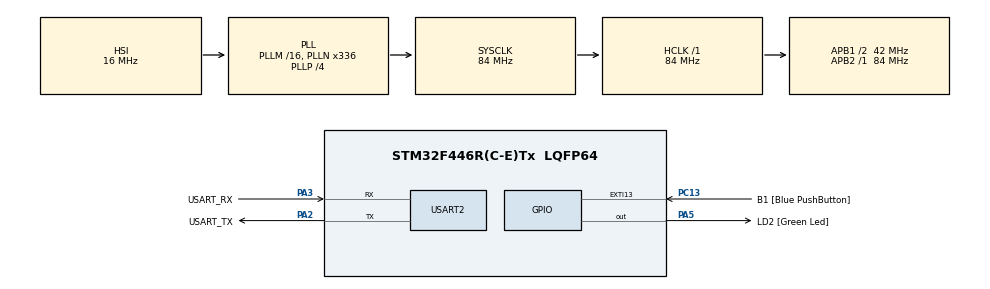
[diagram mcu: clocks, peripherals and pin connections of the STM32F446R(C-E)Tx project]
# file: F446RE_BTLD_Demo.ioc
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Mcu.Family=STM32F4
Mcu.Name=STM32F446R(C-E)Tx
Mcu.Package=LQFP64
NVIC.PriorityGroup=NVIC_PRIORITYGROUP_0
PA13.GPIO_Label=TMS
PA13.Mode=Serial_Wire
PA13.Signal=SYS_JTMS-SWDIO
PA14.GPIO_Label=TCK
PA14.Mode=Serial_Wire
PA14.Signal=SYS_JTCK-SWCLK
PA2.GPIO_Label=USART_TX
PA2.Mode=Asynchronous
PA2.Signal=USART2_TX
PA3.GPIO_Label=USART_RX
PA3.Mode=Asynchronous
PA3.Signal=USART2_RX
PA5.GPIO_Label=LD2 [Green Led]
PA5.Signal=GPIO_Output
PB3.GPIO_Label=SWO
PB3.Signal=SYS_JTDO-SWO
PC13.GPIO_Label=B1 [Blue PushButton]
PC13.GPIO_ModeDefaultEXTI=GPIO_MODE_IT_FALLING
PC13.Signal=GPXTI13
PC14-OSC32_IN.Mode=LSE-External-Oscillator
PC14-OSC32_IN.Signal=RCC_OSC32_IN
PC15-OSC32_OUT.Mode=LSE-External-Oscillator
PC15-OSC32_OUT.Signal=RCC_OSC32_OUT
PH0-OSC_IN.Mode=HSE-External-Oscillator
PH0-OSC_IN.Signal=RCC_OSC_IN
PH1-OSC_OUT.Mode=HSE-External-Oscillator
PH1-OSC_OUT.Signal=RCC_OSC_OUT
ProjectManager.HeapSize=0x200
ProjectManager.StackSize=0x400
ProjectManager.TargetToolchain=STM32CubeIDE
RCC.48MHZClocksFreq_Value=84000000
RCC.AHBFreq_Value=84000000
RCC.APB1CLKDivider=RCC_HCLK_DIV2
RCC.APB1Freq_Value=42000000
RCC.APB1TimFreq_Value=84000000
RCC.APB2Freq_Value=84000000
RCC.APB2TimFreq_Value=84000000
RCC.CortexFreq_Value=84000000
RCC.FLatency-AdvancedSettings=FLASH_LATENCY_2
RCC.HCLKFreq_Value=84000000
RCC.HSE_VALUE=8000000
RCC.HSI_VALUE=16000000
RCC.PLLN=336
RCC.PLLP=RCC_PLLP_DIV4
RCC.SYSCLKFreq_VALUE=84000000
RCC.SYSCLKSource=RCC_SYSCLKSOURCE_PLLCLK
RCC.USBFreq_Value=168000000
RCC.VCOOutputFreq_Value=336000000
USART2.VirtualMode=VM_ASYNC
VP_CRC_VS_CRC.Mode=CRC_Activate
board=NUCLEO-F446RE

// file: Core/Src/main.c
/* USER CODE BEGIN Header */
/**
 ******************************************************************************
 * @file           : main.c
 * @brief          : Main program body
 ******************************************************************************
 * @attention
 *
 * Copyright (c) 2023 STMicroelectronics.
 * All rights reserved.
 *
 * This software is licensed under terms that can be found in the LICENSE file
 * in the root directory of this software component.
 * If no LICENSE file comes with this software, it is provided AS-IS.
 *
 ******************************************************************************
 */
/* USER CODE END Header */
#include "main.h"

/* USER CODE BEGIN PD */
#define FASH_SECTOR2_BASE_ADDRESS 0x08008000UL
/* USER CODE END PD */

CRC_HandleTypeDef hcrc;

UART_HandleTypeDef huart2;

void SystemClock_Config(void);
static void MX_GPIO_Init(void);
static void MX_USART2_UART_Init(void);
static void MX_CRC_Init(void);

int main(void)
{
	/* USER CODE BEGIN 1 */
	char HelloBootloader[]="Hello From BL\r\n";
	/* USER CODE END 1 */

	/* MCU Configuration--------------------------------------------------------*/

	/* Reset of all peripherals, Initializes the Flash interface and the Systick. */
	HAL_Init();

	/* USER CODE BEGIN Init */
	void Bootloader_JumpToUserApp(void);
	void Bootloader_UartReadData(void);
	/* USER CODE END Init */

	/* Configure the system clock */
	SystemClock_Config();

	/* Initialize all configured peripherals */
	MX_GPIO_Init();
	MX_USART2_UART_Init();
	MX_CRC_Init();
	/* USER CODE BEGIN 2 */
	if(HAL_GPIO_ReadPin(B1_GPIO_Port, B1_Pin) == GPIO_PIN_RESET)
	{
		Bootloader_UartReadData();
	}
	else
	{
		Bootloader_JumpToUserApp();
	}

	/* USER CODE END 2 */

	/* Infinite loop */
	/* USER CODE BEGIN WHILE */
	while (1)
	{
		HAL_UART_Transmit( &huart, (uint8_t*)HelloBootloader, sizeof(HelloBootloader),HAL_MAX_DELAY );
		HAL_Delay(1000);
		/* USER CODE END WHILE */

	}
}

void SystemClock_Config(void)
{
	RCC_OscInitTypeDef RCC_OscInitStruct = {0};
	RCC_ClkInitTypeDef RCC_ClkInitStruct = {0};

	/** Configure the main internal regulator output voltage
	 */
	__HAL_RCC_PWR_CLK_ENABLE();
	__HAL_PWR_VOLTAGESCALING_CONFIG(PWR_REGULATOR_VOLTAGE_SCALE3);

	/** Initializes the RCC Oscillators according to the specified parameters
	 * in the RCC_OscInitTypeDef structure.
	 */
	RCC_OscInitStruct.OscillatorType = RCC_OSCILLATORTYPE_HSI;
	RCC_OscInitStruct.HSIState = RCC_HSI_ON;
	RCC_OscInitStruct.HSICalibrationValue = RCC_HSICALIBRATION_DEFAULT;
	RCC_OscInitStruct.PLL.PLLState = RCC_PLL_ON;
	RCC_OscInitStruct.PLL.PLLSource = RCC_PLLSOURCE_HSI;
	RCC_OscInitStruct.PLL.PLLM = 16;
	RCC_OscInitStruct.PLL.PLLN = 336;
	RCC_OscInitStruct.PLL.PLLP = RCC_PLLP_DIV4;
	RCC_OscInitStruct.PLL.PLLQ = 2;
	RCC_OscInitStruct.PLL.PLLR = 2;
	if (HAL_RCC_OscConfig(&RCC_OscInitStruct) != HAL_OK)
	{
		Error_Handler();
	}

	/** Initializes the CPU, AHB and APB buses clocks
	 */
	RCC_ClkInitStruct.ClockType = RCC_CLOCKTYPE_HCLK|RCC_CLOCKTYPE_SYSCLK
			|RCC_CLOCKTYPE_PCLK1|RCC_CLOCKTYPE_PCLK2;
	RCC_ClkInitStruct.SYSCLKSource = RCC_SYSCLKSOURCE_PLLCLK;
	RCC_ClkInitStruct.AHBCLKDivider = RCC_SYSCLK_DIV1;
	RCC_ClkInitStruct.APB1CLKDivider = RCC_HCLK_DIV2;
	RCC_ClkInitStruct.APB2CLKDivider = RCC_HCLK_DIV1;

	if (HAL_RCC_ClockConfig(&RCC_ClkInitStruct, FLASH_LATENCY_2) != HAL_OK)
	{
		Error_Handler();
	}
}

static void MX_CRC_Init(void)
{

	hcrc.Instance = CRC;
	if (HAL_CRC_Init(&hcrc) != HAL_OK)
	{
		Error_Handler();
	}

}

static void MX_USART2_UART_Init(void)
{

	huart2.Instance = USART2;
	huart2.Init.BaudRate = 115200;
	huart2.Init.WordLength = UART_WORDLENGTH_8B;
	huart2.Init.StopBits = UART_STOPBITS_1;
	huart2.Init.Parity = UART_PARITY_NONE;
	huart2.Init.Mode = UART_MODE_TX_RX;
	huart2.Init.HwFlowCtl = UART_HWCONTROL_NONE;
	huart2.Init.OverSampling = UART_OVERSAMPLING_16;
	if (HAL_UART_Init(&huart2) != HAL_OK)
	{
		Error_Handler();
	}

}

static void MX_GPIO_Init(void)
{
	GPIO_InitTypeDef GPIO_InitStruct = {0};

	/* GPIO Ports Clock Enable */
	__HAL_RCC_GPIOC_CLK_ENABLE();
	__HAL_RCC_GPIOH_CLK_ENABLE();
	__HAL_RCC_GPIOA_CLK_ENABLE();
	__HAL_RCC_GPIOB_CLK_ENABLE();

	/*Configure GPIO pin Output Level */
	HAL_GPIO_WritePin(LD2_GPIO_Port, LD2_Pin, GPIO_PIN_RESET);

	/*Configure GPIO pin : B1_Pin */
	GPIO_InitStruct.Pin = B1_Pin;
	GPIO_InitStruct.Mode = GPIO_MODE_IT_FALLING;
	GPIO_InitStruct.Pull = GPIO_NOPULL;
	HAL_GPIO_Init(B1_GPIO_Port, &GPIO_InitStruct);

	/*Configure GPIO pin : LD2_Pin */
	GPIO_InitStruct.Pin = LD2_Pin;
	GPIO_InitStruct.Mode = GPIO_MODE_OUTPUT_PP;
	GPIO_InitStruct.Pull = GPIO_NOPULL;
	GPIO_InitStruct.Speed = GPIO_SPEED_FREQ_LOW;
	HAL_GPIO_Init(LD2_GPIO_Port, &GPIO_InitStruct);

}

/* USER CODE BEGIN 4 */

void Bootloader_UartReadData(void)
{

}
void Bootloader_JumpToUserApp(void)
{	/* pointer to APP */
	void (*App_ResetHandler)(void);
	uint32_t ResetHandlerAddress;
	/* cfg MSP */
	uint32_t Local_u32MSPval     = *((volatile uint32_t*)(FASH_SECTOR2_BASE_ADDRESS  ));
	/* write the user MSP value into MSP register */
	__asm volatile("MSR MSP, %0"::"r"(Local_u32MSPval));
	/* get reset handler */
	ResetHandlerAddress = *((volatile uint32_t*)(FASH_SECTOR2_BASE_ADDRESS+4));
	App_ResetHandler = (void*)ResetHandlerAddress;
	/* jump to user app reset handler */
	App_ResetHandler();
}

/* USER CODE END 4 */

void Error_Handler(void)
{
	__disable_irq();
	while (1)
	{
	}
}
